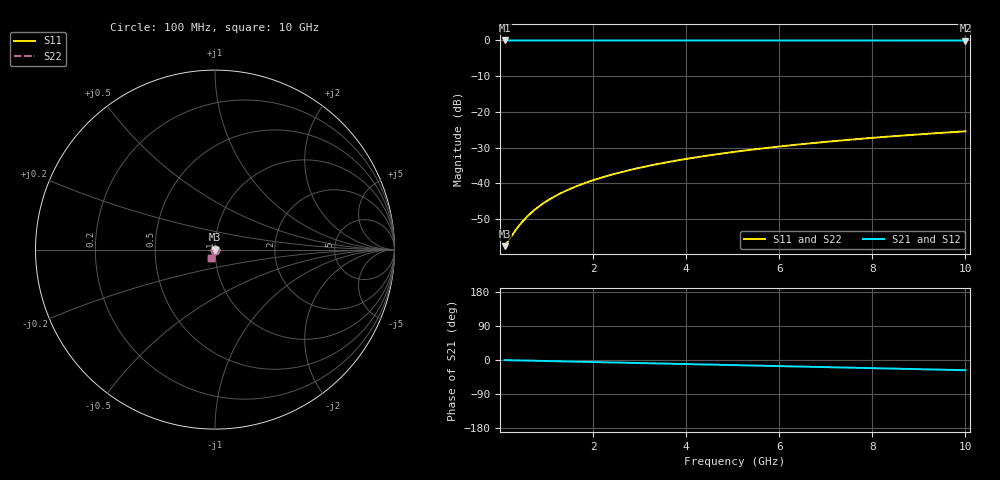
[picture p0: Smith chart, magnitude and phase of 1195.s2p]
# Hz S RI R 50.00
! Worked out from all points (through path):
!   100 points, 100 MHz to 10 GHz, reference 50 ohm
!   highest |S21| = -0.01 dB at 100 MHz (marker M1); lowest = 0.0 dB at 10 GHz (marker M2)
!   group delay of S21, straight-line fit = 7.47 ps
!   lowest |S11| = -57.6 dB at 100 MHz (marker M3), VSWR 1.00, Z = 50.1 - j0.0555 ohm
!   |S11| at or under -10 dB: start of sweep to end of sweep
!   |S22| runs from -57.6 to -25.5 dB; largest |S21 - S12| = 0
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1e8  0.0012 -0.000553  0.9988 -0.00467  0.9988 -0.00467  0.0012 -0.000553
2e8  0.00119 -0.00111  0.9987 -0.00933  0.9987 -0.00933  0.00119 -0.00111
3e8  0.00118 -0.00166  0.9987 -0.014  0.9987 -0.014  0.00118 -0.00166
4e8  0.00117 -0.00221  0.9986 -0.0187  0.9986 -0.0187  0.00117 -0.00221
5e8  0.00115 -0.00277  0.9985 -0.0233  0.9985 -0.0233  0.00115 -0.00277
6e8  0.00112 -0.00332  0.9984 -0.028  0.9984 -0.028  0.00112 -0.00332
7e8  0.00109 -0.00387  0.9982 -0.0327  0.9982 -0.0327  0.00109 -0.00387
8e8  0.00105 -0.00442  0.998 -0.0373  0.998 -0.0373  0.00105 -0.00442
1e9  0.000957 -0.00553  0.9976 -0.0467  0.9976 -0.0467  0.000957 -0.00553
1.2e9  0.000844 -0.00663  0.9971 -0.056  0.9971 -0.056  0.000844 -0.00663
1.5e9  0.000635 -0.00828  0.9962 -0.07  0.9962 -0.07  0.000635 -0.00828
1.8e9  0.000379 -0.00993  0.9951 -0.0839  0.9951 -0.0839  0.000379 -0.00993
2.1e9  7.69e-05 -0.0116  0.9938 -0.0979  0.9938 -0.0979  7.69e-05 -0.0116
2.5e9  -0.000398 -0.0137  0.9918 -0.1165  0.9918 -0.1165  -0.000398 -0.0137
2.9e9  -0.000955 -0.0159  0.9893 -0.135  0.9893 -0.135  -0.000955 -0.0159
3.4e9  -0.00176 -0.0186  0.9858 -0.1582  0.9858 -0.1582  -0.00176 -0.0186
4.2e9  -0.00332 -0.0228  0.9791 -0.195  0.9791 -0.195  -0.00332 -0.0228
5.1e9  -0.00544 -0.0273  0.9698 -0.2361  0.9698 -0.2361  -0.00544 -0.0273
5.9e9  -0.00765 -0.0312  0.9601 -0.2724  0.9601 -0.2724  -0.00765 -0.0312
6.7e9  -0.0101 -0.035  0.949 -0.3082  0.949 -0.3082  -0.0101 -0.035
8.4e9  -0.0163 -0.0422  0.9209 -0.383  0.9209 -0.383  -0.0163 -0.0422
1e10  -0.0232 -0.0481  0.889 -0.4512  0.889 -0.4512  -0.0232 -0.0481
